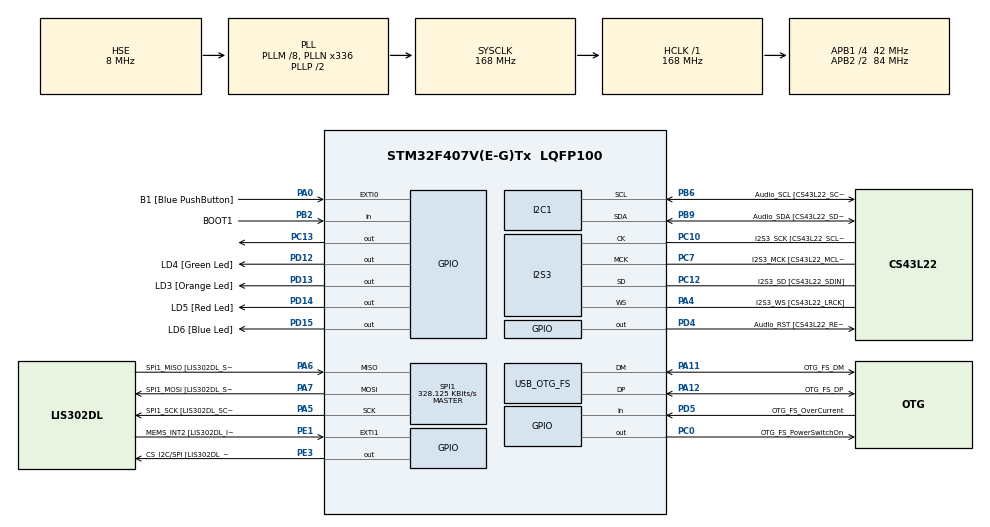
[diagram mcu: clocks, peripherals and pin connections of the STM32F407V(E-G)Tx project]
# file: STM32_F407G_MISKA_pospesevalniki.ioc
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I2S3.AudioFreq-Half_Duplex_Master=I2S_AUDIOFREQ_96K
I2S3.ErrorAudioFreq=-2.34 %
I2S3.ErrorAudioFreq-Half_Duplex_Master=0.8 %
I2S3.FullDuplexMode=I2S_FULLDUPLEXMODE_DISABLE
I2S3.Instance=SPI$Index
I2S3.RealAudioFreq=93.75 KHz
I2S3.RealAudioFreq-Half_Duplex_Master=96.774 KHz
I2S3.VirtualMode=I2S_MODE_MASTER
Mcu.Family=STM32F4
Mcu.Name=STM32F407V(E-G)Tx
Mcu.Package=LQFP100
NVIC.EXTI0_IRQn=true\:0\:0\:false\:false\:true\:true\:true\:true
NVIC.OTG_FS_IRQn=true\:0\:0\:false\:false\:true\:true\:true\:true
NVIC.PriorityGroup=NVIC_PRIORITYGROUP_0
PA0-WKUP.GPIO_Label=B1 [Blue PushButton]
PA0-WKUP.GPIO_ModeDefaultEXTI=GPIO_MODE_IT_RISING
PA0-WKUP.GPIO_PuPd=GPIO_PULLDOWN
PA0-WKUP.Signal=GPXTI0
PA10.GPIO_Label=OTG_FS_ID
PA10.GPIO_Mode=GPIO_MODE_AF_PP
PA10.GPIO_PuPd=GPIO_NOPULL
PA10.GPIO_Speed=GPIO_SPEED_FREQ_LOW
PA10.Signal=USB_OTG_FS_ID
PA11.GPIO_Label=OTG_FS_DM
PA11.GPIO_Mode=GPIO_MODE_AF_PP
PA11.GPIO_PuPd=GPIO_NOPULL
PA11.GPIO_Speed=GPIO_SPEED_FREQ_LOW
PA11.Mode=Device_Only
PA11.Signal=USB_OTG_FS_DM
PA12.GPIO_Label=OTG_FS_DP
PA12.GPIO_Mode=GPIO_MODE_AF_PP
PA12.GPIO_PuPd=GPIO_NOPULL
PA12.GPIO_Speed=GPIO_SPEED_FREQ_LOW
PA12.Mode=Device_Only
PA12.Signal=USB_OTG_FS_DP
PA13.GPIO_Label=SWDIO
PA13.Mode=Serial_Wire
PA13.Signal=SYS_JTMS-SWDIO
PA14.GPIO_Label=SWCLK
PA14.Mode=Serial_Wire
PA14.Signal=SYS_JTCK-SWCLK
PA4.GPIO_Label=I2S3_WS [CS43L22_LRCK]
PA4.GPIO_Mode=GPIO_MODE_AF_PP
PA4.GPIO_PuPd=GPIO_NOPULL
PA4.GPIO_Speed=GPIO_SPEED_FREQ_LOW
PA4.Mode=Half_Duplex_Master
PA4.Signal=I2S3_WS
PA5.GPIO_Label=SPI1_SCK [LIS302DL_SCL/SPC]
PA5.GPIO_Mode=GPIO_MODE_AF_PP
PA5.GPIO_PuPd=GPIO_NOPULL
PA5.GPIO_Speed=GPIO_SPEED_FREQ_LOW
PA5.Mode=Full_Duplex_Master
PA5.Signal=SPI1_SCK
PA6.GPIO_Label=SPI1_MISO [LIS302DL_SDO]
PA6.GPIO_Mode=GPIO_MODE_AF_PP
PA6.GPIO_PuPd=GPIO_NOPULL
PA6.GPIO_Speed=GPIO_SPEED_FREQ_LOW
PA6.Mode=Full_Duplex_Master
PA6.Signal=SPI1_MISO
PA7.GPIO_Label=SPI1_MOSI [LIS302DL_SDA/SDI/SDO]
PA7.GPIO_Mode=GPIO_MODE_AF_PP
PA7.GPIO_PuPd=GPIO_NOPULL
PA7.GPIO_Speed=GPIO_SPEED_FREQ_LOW
PA7.Mode=Full_Duplex_Master
PA7.Signal=SPI1_MOSI
PA9.GPIO_Label=VBUS_FS
PA9.GPIO_Mode=GPIO_MODE_INPUT
PA9.GPIO_PuPd=GPIO_NOPULL
PA9.Signal=USB_OTG_FS_VBUS
PB10.GPIO_Label=CLK_IN [MP45DT02_CLK]
PB10.GPIO_Mode=GPIO_MODE_AF_PP
PB10.GPIO_PuPd=GPIO_NOPULL
PB10.GPIO_Speed=GPIO_SPEED_FREQ_LOW
PB10.Signal=I2S2_CK
PB2.GPIO_Label=BOOT1
PB2.GPIO_Mode=GPIO_MODE_INPUT
PB2.GPIO_PuPd=GPIO_NOPULL
PB2.Signal=GPIO_Input
PB3.GPIO_Label=SWO
PB3.Signal=SYS_JTDO-SWO
PB6.GPIO_Label=Audio_SCL [CS43L22_SCL]
PB6.GPIO_Mode=GPIO_MODE_AF_OD
PB6.GPIO_Pu=GPIO_PULLUP
PB6.GPIO_PuPd=GPIO_NOPULL
PB6.GPIO_Speed=GPIO_SPEED_FREQ_LOW
PB6.Mode=I2C
PB6.Signal=I2C1_SCL
PB9.GPIO_Label=Audio_SDA [CS43L22_SDA]
PB9.GPIO_Mode=GPIO_MODE_AF_OD
PB9.GPIO_Pu=GPIO_PULLUP
PB9.GPIO_PuPd=GPIO_NOPULL
PB9.GPIO_Speed=GPIO_SPEED_FREQ_LOW
PB9.Mode=I2C
PB9.Signal=I2C1_SDA
PC0.GPIO_Label=OTG_FS_PowerSwitchOn
PC0.GPIO_PuPd=GPIO_NOPULL
PC0.GPIO_Speed=GPIO_SPEED_FREQ_LOW
PC0.PinState=GPIO_PIN_SET
PC0.Signal=GPIO_Output
PC10.GPIO_Label=I2S3_SCK [CS43L22_SCLK]
PC10.GPIO_Mode=GPIO_MODE_AF_PP
PC10.GPIO_PuPd=GPIO_NOPULL
PC10.GPIO_Speed=GPIO_SPEED_FREQ_LOW
PC10.Mode=Half_Duplex_Master
PC10.Signal=I2S3_CK
PC12.GPIO_Label=I2S3_SD [CS43L22_SDIN]
PC12.GPIO_Mode=GPIO_MODE_AF_PP
PC12.GPIO_PuPd=GPIO_NOPULL
PC12.GPIO_Speed=GPIO_SPEED_FREQ_LOW
PC12.Mode=Half_Duplex_Master
PC12.Signal=I2S3_SD
PC13-ANTI_TAMP.PinState=GPIO_PIN_SET
PC13-ANTI_TAMP.Signal=GPIO_Output
PC14-OSC32_IN.GPIO_Label=PC14-OSC32_IN
PC14-OSC32_IN.Mode=LSE-External-Oscillator
PC14-OSC32_IN.Signal=RCC_OSC32_IN
PC15-OSC32_OUT.GPIO_Label=PC15-OSC32_OUT
PC15-OSC32_OUT.Mode=LSE-External-Oscillator
PC15-OSC32_OUT.Signal=RCC_OSC32_OUT
PC3.GPIO_Label=PDM_OUT [MP45DT02_DOUT]
PC3.GPIO_Mode=GPIO_MODE_AF_PP
PC3.GPIO_PuPd=GPIO_NOPULL
PC3.GPIO_Speed=GPIO_SPEED_FREQ_LOW
PC3.Signal=I2S2_SD
PC7.GPIO_Label=I2S3_MCK [CS43L22_MCLK]
PC7.GPIO_Mode=GPIO_MODE_AF_PP
PC7.GPIO_PuPd=GPIO_NOPULL
PC7.GPIO_Speed=GPIO_SPEED_FREQ_LOW
PC7.Mode=Master_Clock_Activated
PC7.Signal=I2S3_MCK
PD12.GPIO_Label=LD4 [Green Led]
PD12.GPIO_PuPd=GPIO_NOPULL
PD12.GPIO_Speed=GPIO_SPEED_FREQ_LOW
PD12.Signal=GPIO_Output
PD13.GPIO_Label=LD3 [Orange Led]
PD13.GPIO_PuPd=GPIO_NOPULL
PD13.GPIO_Speed=GPIO_SPEED_FREQ_LOW
PD13.Signal=GPIO_Output
PD14.GPIO_Label=LD5 [Red Led]
PD14.GPIO_PuPd=GPIO_NOPULL
PD14.GPIO_Speed=GPIO_SPEED_FREQ_LOW
PD14.Signal=GPIO_Output
PD15.GPIO_Label=LD6 [Blue Led]
PD15.GPIO_PuPd=GPIO_NOPULL
PD15.GPIO_Speed=GPIO_SPEED_FREQ_LOW
PD15.Signal=GPIO_Output
PD4.GPIO_Label=Audio_RST [CS43L22_RESET]
PD4.GPIO_PuPd=GPIO_NOPULL
PD4.GPIO_Speed=GPIO_SPEED_FREQ_LOW
PD4.Signal=GPIO_Output
PD5.GPIO_Label=OTG_FS_OverCurrent
PD5.GPIO_Mode=GPIO_MODE_INPUT
PD5.GPIO_PuPd=GPIO_NOPULL
PD5.Signal=GPIO_Input
PE1.GPIO_Label=MEMS_INT2 [LIS302DL_INT2]
PE1.GPIO_ModeDefaultEXTI=GPIO_MODE_EVT_RISING
PE1.GPIO_PuPd=GPIO_NOPULL
PE1.Signal=GPXTI1
PE3.GPIO_Label=CS_I2C/SPI [LIS302DL_CS_I2C/SPI]
PE3.GPIO_PuPd=GPIO_NOPULL
PE3.GPIO_Speed=GPIO_SPEED_FREQ_LOW
PE3.Signal=GPIO_Output
PH0-OSC_IN.GPIO_Label=PH0-OSC_IN
PH0-OSC_IN.Mode=HSE-External-Oscillator
PH0-OSC_IN.Signal=RCC_OSC_IN
PH1-OSC_OUT.GPIO_Label=PH1-OSC_OUT
PH1-OSC_OUT.Mode=HSE-External-Oscillator
PH1-OSC_OUT.Signal=RCC_OSC_OUT
ProjectManager.HeapSize=0x200
ProjectManager.StackSize=0x400
ProjectManager.TargetToolchain=STM32CubeIDE
RCC.48MHZClocksFreq_Value=48000000
RCC.AHBFreq_Value=168000000
RCC.APB1CLKDivider=RCC_HCLK_DIV4
RCC.APB1Freq_Value=42000000
RCC.APB1TimFreq_Value=84000000
RCC.APB2CLKDivider=RCC_HCLK_DIV2
RCC.APB2Freq_Value=84000000
RCC.APB2TimFreq_Value=168000000
RCC.CortexFreq_Value=168000000
RCC.HCLKFreq_Value=168000000
RCC.HSE_VALUE=8000000
RCC.HSI_VALUE=16000000
RCC.PLLM=8
RCC.PLLN=336
RCC.PLLQ=7
RCC.SYSCLKFreq_VALUE=168000000
RCC.SYSCLKSource=RCC_SYSCLKSOURCE_PLLCLK
RCC.VCOOutputFreq_Value=336000000
SPI1.BaudRatePrescaler=SPI_BAUDRATEPRESCALER_256
SPI1.BaudRatePrescaler-Full_Duplex_Master=SPI_BAUDRATEPRESCALER_2
SPI1.CalculateBaudRate=328.125 KBits/s
SPI1.CalculateBaudRate-Full_Duplex_Master=42.0 MBits/s
SPI1.Direction=SPI_DIRECTION_2LINES
SPI1.Mode=SPI_MODE_MASTER
SPI1.Mode-Full_Duplex_Master=SPI_MODE_MASTER
SPI1.VirtualType=VM_MASTER
USB_DEVICE.CLASS_NAME_FS=HID
USB_DEVICE.PRODUCT_STRING_HID_FS=STM32F407G MISKA
USB_DEVICE.VirtualMode-HID_FS=Hid
USB_DEVICE.VirtualModeFS=Hid_FS
USB_OTG_FS.VirtualMode=Device_Only
VP_USB_DEVICE_VS_USB_DEVICE_HID_FS.Mode=HID_FS
board=STM32F407G-DISC1

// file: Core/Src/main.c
/* USER CODE BEGIN Header */
/**
  ******************************************************************************
  * @file           : main.c
  * @brief          : Main program body
  ******************************************************************************
  * @attention
  *
  * <h2><center>&copy; Copyright (c) 2022 STMicroelectronics.
  * All rights reserved.</center></h2>
  *
  * This software component is licensed by ST under Ultimate Liberty license
  * SLA0044, the "License"; You may not use this file except in compliance with
  * the License. You may obtain a copy of the License at:
  *                             www.st.com/SLA0044
  *
  ******************************************************************************
  */
/* USER CODE END Header */
#include "main.h"
#include "i2c.h"
#include "i2s.h"
#include "spi.h"
#include "usb_device.h"
#include "gpio.h"

/* USER CODE BEGIN Includes */
#include "usbd_hid.h"
/* USER CODE END Includes */

/* USER CODE BEGIN PV */
#define BUFSIZE 256
char	SendBuffer[BUFSIZE];
int	Counter;
int KeyState=0;

// Global variables
uint8_t indata[2];
uint8_t outdata[2] = {0,0};
uint8_t lis_id;
int8_t AccelX;
int8_t AccelY;
int8_t AccelZ;
HAL_StatusTypeDef SPIStatus;

/* USER CODE END PV */

void SystemClock_Config(void);

/* USER CODE BEGIN 0 */

int16_t min_xval = 128;
int16_t max_xval = -128;
int16_t min_yval = 128;
int16_t max_yval = -128;

int16_t newxval = 0;
int16_t newyval = 0;

uint8_t button_flag = 0;

// MOUSE
extern USBD_HandleTypeDef hUsbDeviceFS;

typedef struct
{
	uint8_t button;
	int8_t mouse_x;
	int8_t mouse_y;
	int8_t wheel;
} mouseHID;

mouseHID mousehid = {0,0,0,0};

void Calibrate (void) //Calibrates values from sensor to move the mouse cursor depending on the movement of the accelerometer from its starting position
{
	for (int i=0; i<50; i++)
	{

		outdata[0] = 0x29 | 0x80 ; // read x
		HAL_GPIO_WritePin(GPIOE, GPIO_PIN_3, GPIO_PIN_RESET);
		HAL_SPI_TransmitReceive(&hspi1, &outdata, &indata, 2, HAL_MAX_DELAY);
		// HAL_GPIO_WritePin(GPIOE, GPIO_PIN_3, GPIO_PIN_SET);
		AccelX = indata[1];
		outdata[0] = 0x2B | 0x80 ; // read y
		// HAL_GPIO_WritePin(GPIOE, GPIO_PIN_3, GPIO_PIN_RESET);
		HAL_SPI_TransmitReceive(&hspi1, &outdata, &indata, 2, HAL_MAX_DELAY);
		// HAL_GPIO_WritePin(GPIOE, GPIO_PIN_3, GPIO_PIN_SET);
		AccelY = indata[1];
		outdata[0] = 0x2D | 0x80 ; // read z
		// HAL_GPIO_WritePin(GPIOE, GPIO_PIN_3, GPIO_PIN_RESET);
		HAL_SPI_TransmitReceive(&hspi1, &outdata, &indata, 2, HAL_MAX_DELAY);
		HAL_GPIO_WritePin(GPIOE, GPIO_PIN_3, GPIO_PIN_SET);
		AccelZ = indata[1];

		min_xval = MIN(min_xval, AccelX);
		max_xval = MAX(max_xval, AccelX);
		min_yval = MIN(min_yval, AccelY);
		max_yval = MAX(max_yval, AccelY);
		HAL_Delay (100);
	}

	// Turns the blue LED on to indicate the completion of calibration
	HAL_GPIO_WritePin(GPIOD, GPIO_PIN_15, 1);
}

// EXTI -> external interrupt for when the USER button on the STM32 is pressed

void HAL_GPIO_EXTI_Callback(uint16_t GPIO_Pin)
{
	if (GPIO_Pin == GPIO_PIN_0) //Check if the blue USER button is pressed; GPIOA, GPIO_PIN_0
	{
		button_flag = 1;
	}
}

/* USER CODE END 0 */

int main(void)
{

  /* MCU Configuration--------------------------------------------------------*/

  /* Reset of all peripherals, Initializes the Flash interface and the Systick. */
  HAL_Init();

  /* Configure the system clock */
  SystemClock_Config();

  /* Initialize all configured peripherals */
  MX_GPIO_Init();
  MX_I2C1_Init();
  MX_I2S3_Init();
  MX_SPI1_Init();
  MX_USB_DEVICE_Init();
  /* USER CODE BEGIN 2 */

  // Config accelerometer
  // Read WHOAMI register
  HAL_GPIO_WritePin(GPIOE, GPIO_PIN_3, GPIO_PIN_RESET);
  outdata[0] = 0x0f | 0x80 ; // read whoami
  HAL_SPI_TransmitReceive(&hspi1, &outdata, &indata, 2, HAL_MAX_DELAY);
  lis_id = indata[1];
  HAL_GPIO_WritePin(GPIOE, GPIO_PIN_3, GPIO_PIN_SET);
  HAL_Delay(500);
  // Activate accelerometer
  HAL_GPIO_WritePin(GPIOE, GPIO_PIN_3, GPIO_PIN_RESET);
  outdata[0] = 0x20 ; // switch on axes
  outdata[1] = 0x47 ;
  HAL_SPI_TransmitReceive(&hspi1, &outdata, &indata, 2, HAL_MAX_DELAY);
  HAL_GPIO_WritePin(GPIOE, GPIO_PIN_3, GPIO_PIN_SET);
  HAL_Delay(500);
  outdata[1] = 0x00 ;

  Calibrate(); //Calibrates untill blue LED activates

  /* USER CODE END 2 */

  /* Infinite loop */
  /* USER CODE BEGIN WHILE */
  while (1)
  {

	  outdata[0] = 0x29 | 0x80 ; // read x
	  HAL_GPIO_WritePin(GPIOE, GPIO_PIN_3, GPIO_PIN_RESET);
	  HAL_SPI_TransmitReceive(&hspi1, &outdata, &indata, 2, HAL_MAX_DELAY);
	  // HAL_GPIO_WritePin(GPIOE, GPIO_PIN_3, GPIO_PIN_SET);
	  AccelX = indata[1];
	  outdata[0] = 0x2B | 0x80 ; // read y
	  // HAL_GPIO_WritePin(GPIOE, GPIO_PIN_3, GPIO_PIN_RESET);
	  HAL_SPI_TransmitReceive(&hspi1, &outdata, &indata, 2, HAL_MAX_DELAY);
	  // HAL_GPIO_WritePin(GPIOE, GPIO_PIN_3, GPIO_PIN_SET);
	  AccelY = indata[1];
	  outdata[0] = 0x2D | 0x80 ; // read z
	  // HAL_GPIO_WritePin(GPIOE, GPIO_PIN_3, GPIO_PIN_RESET);
	  HAL_SPI_TransmitReceive(&hspi1, &outdata, &indata, 2, HAL_MAX_DELAY);
	  HAL_GPIO_WritePin(GPIOE, GPIO_PIN_3, GPIO_PIN_SET);
	  AccelZ = indata[1];

	 KeyState = HAL_GPIO_ReadPin(GPIOA, GPIO_PIN_0);

	 /*snprintf(SendBuffer,BUFSIZE,"Hello World [%d]: Key:%04d Accel[ID:%02x] X:%04d Y:%d Z:%04d | Id:%02x \r\n",Counter++,KeyState,lis_id,AccelX,AccelY,AccelZ,ChipID);
	 CDC_Transmit_FS(SendBuffer,strlen(SendBuffer));*/

    /* USER CODE END WHILE */

    /* USER CODE BEGIN 3 */
	  //HAL_Delay(1000);

	 if (AccelX < min_xval)
	 {
	   newxval = AccelX - min_xval;
	 }

	else if (AccelX > max_xval)
	 {
	   newxval = AccelX - max_xval;
	 }

	if (AccelY < min_yval)
	{
	  newyval = AccelY - min_yval;
	}

	else if (AccelY > max_yval)
	{
	 newyval = AccelY - max_yval;
	}

	if ((newxval > 10) || (newxval <-10)) //Determines the necessary amount of change in value from the sensor to start moving the mouse cursor
	{
	 mousehid.mouse_y = (newxval/10); //Divides the value from the sensor by 10 in order to make a slower acceleration of the mouse cursor and thereby making it more accurate to use
	}
	else mousehid.mouse_y = 0;

	if ((newyval > 10) || (newyval <-10))
	{
	 mousehid.mouse_x= (newyval)/10;
	}
	else mousehid.mouse_x = 0;

	if (button_flag==1)
	{
	 mousehid.button = 1; //left click = 1; right click = 2
	 USBD_HID_SendReport(&hUsbDeviceFS, &mousehid, sizeof (mousehid)); //Hold mouse button
	 HAL_Delay (50); //50 ms delay within mouse click
	 mousehid.button = 0;
	 USBD_HID_SendReport(&hUsbDeviceFS,&mousehid, sizeof (mousehid)); //Release mouse button
	 button_flag =0;
	}

	USBD_HID_SendReport(&hUsbDeviceFS,&mousehid, sizeof (mousehid)); //Send data to USB

	HAL_Delay(10);

  }
  /* USER CODE END 3 */
}

void SystemClock_Config(void)
{
  RCC_OscInitTypeDef RCC_OscInitStruct = {0};
  RCC_ClkInitTypeDef RCC_ClkInitStruct = {0};

  /** Configure the main internal regulator output voltage
  */
  __HAL_RCC_PWR_CLK_ENABLE();
  __HAL_PWR_VOLTAGESCALING_CONFIG(PWR_REGULATOR_VOLTAGE_SCALE1);

  /** Initializes the RCC Oscillators according to the specified parameters
  * in the RCC_OscInitTypeDef structure.
  */
  RCC_OscInitStruct.OscillatorType = RCC_OSCILLATORTYPE_HSE;
  RCC_OscInitStruct.HSEState = RCC_HSE_ON;
  RCC_OscInitStruct.PLL.PLLState = RCC_PLL_ON;
  RCC_OscInitStruct.PLL.PLLSource = RCC_PLLSOURCE_HSE;
  RCC_OscInitStruct.PLL.PLLM = 8;
  RCC_OscInitStruct.PLL.PLLN = 336;
  RCC_OscInitStruct.PLL.PLLP = RCC_PLLP_DIV2;
  RCC_OscInitStruct.PLL.PLLQ = 7;
  if (HAL_RCC_OscConfig(&RCC_OscInitStruct) != HAL_OK)
  {
    Error_Handler();
  }

  /** Initializes the CPU, AHB and APB buses clocks
  */
  RCC_ClkInitStruct.ClockType = RCC_CLOCKTYPE_HCLK|RCC_CLOCKTYPE_SYSCLK
                              |RCC_CLOCKTYPE_PCLK1|RCC_CLOCKTYPE_PCLK2;
  RCC_ClkInitStruct.SYSCLKSource = RCC_SYSCLKSOURCE_PLLCLK;
  RCC_ClkInitStruct.AHBCLKDivider = RCC_SYSCLK_DIV1;
  RCC_ClkInitStruct.APB1CLKDivider = RCC_HCLK_DIV4;
  RCC_ClkInitStruct.APB2CLKDivider = RCC_HCLK_DIV2;

  if (HAL_RCC_ClockConfig(&RCC_ClkInitStruct, FLASH_LATENCY_5) != HAL_OK)
  {
    Error_Handler();
  }
}

void Error_Handler(void)
{
  __disable_irq();
  while (1)
  {
  }
}
